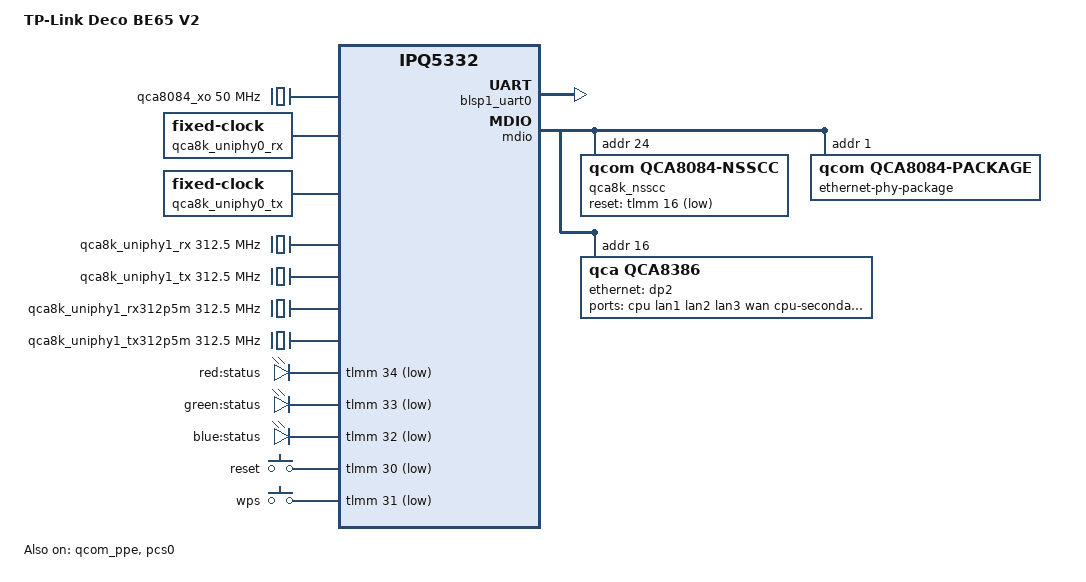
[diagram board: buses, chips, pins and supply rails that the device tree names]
// SPDX-License-Identifier: (GPL-2.0+ OR BSD-3-Clause)

/dts-v1/;

#include <arm64/qcom/ipq5332.dtsi>

#include <dt-bindings/clock/qcom,ipq5332-nsscc.h>
#include <dt-bindings/clock/qcom,qca8k-nsscc.h>
#include <dt-bindings/gpio/gpio.h>
#include <dt-bindings/input/input.h>
#include <dt-bindings/net/qcom,qca808x.h>
#include <dt-bindings/reset/qcom,qca8k-nsscc.h>

/ {
	model = "TP-Link Deco BE65 V2";
	compatible = "tplink,be65-v2", "qcom,ipq5332";

	aliases {
		serial0 = &blsp1_uart0;
	};

	chosen {
		stdout-path = "serial0:115200n8";
	};

	reserved-memory {
		#address-cells = <2>;
		#size-cells = <2>;
		ranges;

		tzapp: tzapp@49b00000 {
			reg = <0x0 0x49b00000 0x0 0x00600000>;
			no-map;
		};

		/* UserPD host DDR starts 12 MiB into q6_region. */
		q6_host_ddr: host-ddr@4b500000 {
			reg = <0x0 0x4b500000 0x0 0x01700000>;
			no-map;
		};

		m3_dump: m3-dump@4cc00000 {
			reg = <0x0 0x4cc00000 0x0 0x00100000>;
			no-map;
		};

		q6_etr: q6-etr-dump@4cd00000 {
			reg = <0x0 0x4cd00000 0x0 0x00100000>;
			no-map;
		};

		q6_caldb: q6-caldb@4ce00000 {
			reg = <0x0 0x4ce00000 0x0 0x00500000>;
			no-map;
		};

		mlo_mem: mlo-global-mem@4db00000 {
			reg = <0x0 0x4db00000 0x0 0x01200000>;
			no-map;
		};

		/* Active QCN9224 slot in the vendor BE65 V2 device tree. */
		qcn9224_host_ddr: qcn9224-host-ddr@51f00000 {
			reg = <0x0 0x51f00000 0x0 0x03200000>;
			no-map;
		};
	};

	qca8084_xo: clock-qca8084-xo {
		compatible = "fixed-clock";
		#clock-cells = <0>;
		clock-frequency = <50000000>;
	};

	qca8k_uniphy0_rx: clock-qca8k-uniphy0-rx {
		compatible = "fixed-clock";
		#clock-cells = <0>;
		clock-frequency = <0>;
	};

	qca8k_uniphy0_tx: clock-qca8k-uniphy0-tx {
		compatible = "fixed-clock";
		#clock-cells = <0>;
		clock-frequency = <0>;
	};

	qca8k_uniphy1_rx: clock-qca8k-uniphy1-rx {
		compatible = "fixed-clock";
		#clock-cells = <0>;
		clock-frequency = <312500000>;
	};

	qca8k_uniphy1_tx: clock-qca8k-uniphy1-tx {
		compatible = "fixed-clock";
		#clock-cells = <0>;
		clock-frequency = <312500000>;
	};

	qca8k_uniphy1_rx312p5m: clock-qca8k-uniphy1-rx312p5m {
		compatible = "fixed-clock";
		#clock-cells = <0>;
		clock-frequency = <312500000>;
	};

	qca8k_uniphy1_tx312p5m: clock-qca8k-uniphy1-tx312p5m {
		compatible = "fixed-clock";
		#clock-cells = <0>;
		clock-frequency = <312500000>;
	};

	leds {
		compatible = "gpio-leds";
		pinctrl-0 = <&leds_pins>;
		pinctrl-names = "default";

		led-red {
			label = "red:status";
			gpios = <&tlmm 34 GPIO_ACTIVE_LOW>;
			default-state = "off";
		};

		led-green {
			label = "green:status";
			gpios = <&tlmm 33 GPIO_ACTIVE_LOW>;
			default-state = "off";
		};

		led-blue {
			label = "blue:status";
			gpios = <&tlmm 32 GPIO_ACTIVE_LOW>;
			default-state = "off";
		};
	};

	keys {
		compatible = "gpio-keys";
		pinctrl-0 = <&buttons_pins>;
		pinctrl-names = "default";

		button-reset {
			label = "reset";
			linux,code = <KEY_RESTART>;
			gpios = <&tlmm 30 GPIO_ACTIVE_LOW>;
		};

		button-wps {
			label = "wps";
			linux,code = <KEY_WPS_BUTTON>;
			gpios = <&tlmm 31 GPIO_ACTIVE_LOW>;
		};
	};
};

&blsp1_uart0 {
	pinctrl-0 = <&serial_0_pins>;
	pinctrl-names = "default";
	status = "okay";
};

&tlmm {
	buttons_pins: buttons-state {
		pins = "gpio30", "gpio31";
		function = "gpio";
		drive-strength = <8>;
		bias-pull-up;
	};

	leds_pins: leds-state {
		pins = "gpio32", "gpio33", "gpio34";
		function = "gpio";
		drive-strength = <8>;
		bias-disable;
	};

	pcie1_default: pcie1-default-state {
		clkreq-n-pins {
			pins = "gpio46";
			function = "pcie1_clk";
			drive-strength = <8>;
			bias-pull-up;
		};

		perst-n-pins {
			pins = "gpio47";
			function = "gpio";
			drive-strength = <8>;
			bias-pull-up;
			output-low;
		};

		wake-n-pins {
			pins = "gpio48";
			function = "pcie1_wake";
			drive-strength = <8>;
			bias-pull-up;
		};
	};

	qspi_nand_pins: qspi-nand-state {
		qspi-clock-pins {
			pins = "gpio13";
			function = "qspi_clk";
			drive-strength = <8>;
			bias-disable;
		};

		qspi-cs-pins {
			pins = "gpio12";
			function = "qspi_cs";
			drive-strength = <8>;
			bias-disable;
		};

		qspi-data-pins {
			pins = "gpio8", "gpio9", "gpio10", "gpio11";
			function = "qspi_data";
			drive-strength = <8>;
			bias-disable;
		};
	};
};

&mdio {
	pinctrl-0 = <&mdio1_pins &mdio0_pins>;
	pinctrl-names = "default";
	mdio_clk_fixup;
	status = "okay";

	qca8k_nsscc: clock-controller@18 {
		compatible = "qcom,qca8084-nsscc";
		reg = <0x18>;
		reset-gpios = <&tlmm 16 GPIO_ACTIVE_LOW>;
		#clock-cells = <1>;
		#reset-cells = <1>;
		#power-domain-cells = <1>;

		clocks = <&qca8084_xo>,
			 <&qca8k_uniphy0_rx>,
			 <&qca8k_uniphy0_tx>,
			 <&qca8k_uniphy1_rx>,
			 <&qca8k_uniphy1_tx>,
			 <&qca8k_uniphy1_rx312p5m>,
			 <&qca8k_uniphy1_tx312p5m>;
	};

	ethernet-phy-package@1 {
		compatible = "qcom,qca8084-package";
		reg = <1>;
		#address-cells = <1>;
		#size-cells = <0>;

		clocks = <&qca8k_nsscc NSS_CC_APB_BRIDGE_CLK>,
			 <&qca8k_nsscc NSS_CC_AHB_CLK>,
			 <&qca8k_nsscc NSS_CC_SEC_CTRL_AHB_CLK>,
			 <&qca8k_nsscc NSS_CC_TLMM_CLK>,
			 <&qca8k_nsscc NSS_CC_TLMM_AHB_CLK>,
			 <&qca8k_nsscc NSS_CC_CNOC_AHB_CLK>,
			 <&qca8k_nsscc NSS_CC_MDIO_AHB_CLK>,
			 <&qca8k_nsscc NSS_CC_MDIO_MASTER_AHB_CLK>,
			 <&qca8k_nsscc NSS_CC_SWITCH_CORE_CLK>;
		clock-names = "apb_bridge",
			      "ahb",
			      "sec_ctrl_ahb",
			      "tlmm",
			      "tlmm_ahb",
			      "cnoc_ahb",
			      "mdio_ahb",
			      "mdio_master_ahb",
			      "switch_core";
		resets = <&qca8k_nsscc NSS_CC_GEPHY_FULL_ARES>;

		qcom,package-mode = <QCA808X_PCS1_SGMII_MAC_PCS0_SGMII_MAC>;
		qcom,phy-addr-fixup = <1 2 3 4 5 6 7>;

		qca8084_phy1: ethernet-phy@1 {
			compatible = "ethernet-phy-id004d.d180";
			reg = <1>;
			clocks = <&qca8k_nsscc NSS_CC_GEPHY0_SYS_CLK>;
			resets = <&qca8k_nsscc NSS_CC_GEPHY0_SYS_ARES>;
		};

		qca8084_phy2: ethernet-phy@2 {
			compatible = "ethernet-phy-id004d.d180";
			reg = <2>;
			clocks = <&qca8k_nsscc NSS_CC_GEPHY1_SYS_CLK>;
			resets = <&qca8k_nsscc NSS_CC_GEPHY1_SYS_ARES>;
		};

		qca8084_phy3: ethernet-phy@3 {
			compatible = "ethernet-phy-id004d.d180";
			reg = <3>;
			clocks = <&qca8k_nsscc NSS_CC_GEPHY2_SYS_CLK>;
			resets = <&qca8k_nsscc NSS_CC_GEPHY2_SYS_ARES>;
		};

		qca8084_phy4: ethernet-phy@4 {
			compatible = "ethernet-phy-id004d.d180";
			reg = <4>;
			clocks = <&qca8k_nsscc NSS_CC_GEPHY3_SYS_CLK>;
			resets = <&qca8k_nsscc NSS_CC_GEPHY3_SYS_ARES>;
		};

		/* QCA8084 PCS1 carries the QCA8386 port-0 CPU uplink. */
		pcs-phy@6 {
			compatible = "qcom,qca8k-pcs-phy";
			reg = <6>;
			clocks = <&qca8k_nsscc NSS_CC_SRDS1_SYS_CLK>,
				 <&qca8k_uniphy1_tx312p5m>,
				 <&qca8k_uniphy1_rx312p5m>;
			clock-names = "pcs", "pcs_rx_root", "pcs_tx_root";
			resets = <&qca8k_nsscc NSS_CC_SRDS1_SYS_ARES>;
		};
	};

	qca8386: switch@10 {
		compatible = "qca,qca8386";
		reg = <0x10>;

		resets = <&qca8k_nsscc NSS_CC_SWITCH_CORE_ARES>,
			 <&qca8k_nsscc NSS_CC_MAC0_TX_ARES>,
			 <&qca8k_nsscc NSS_CC_MAC0_RX_ARES>,
			 <&qca8k_nsscc NSS_CC_MAC1_TX_ARES>,
			 <&qca8k_nsscc NSS_CC_MAC1_RX_ARES>,
			 <&qca8k_nsscc NSS_CC_MAC2_TX_ARES>,
			 <&qca8k_nsscc NSS_CC_MAC2_RX_ARES>,
			 <&qca8k_nsscc NSS_CC_MAC3_TX_ARES>,
			 <&qca8k_nsscc NSS_CC_MAC3_RX_ARES>,
			 <&qca8k_nsscc NSS_CC_MAC4_TX_ARES>,
			 <&qca8k_nsscc NSS_CC_MAC4_RX_ARES>,
			 <&qca8k_nsscc NSS_CC_MAC5_TX_ARES>,
			 <&qca8k_nsscc NSS_CC_MAC5_RX_ARES>;
		reset-names = "switch_core",
			      "mac0_tx",
			      "mac0_rx",
			      "mac1_tx",
			      "mac1_rx",
			      "mac2_tx",
			      "mac2_rx",
			      "mac3_tx",
			      "mac3_rx",
			      "mac4_tx",
			      "mac4_rx",
			      "mac5_tx",
			      "mac5_rx";

		clocks = <&qca8k_nsscc NSS_CC_MAC0_TX_CLK>,
			 <&qca8k_nsscc NSS_CC_MAC0_RX_CLK>,
			 <&qca8k_nsscc NSS_CC_MAC0_TX_SRDS1_CLK>,
			 <&qca8k_nsscc NSS_CC_MAC0_RX_SRDS1_CLK>,
			 <&qca8k_nsscc NSS_CC_MAC1_TX_CLK>,
			 <&qca8k_nsscc NSS_CC_MAC1_RX_CLK>,
			 <&qca8k_nsscc NSS_CC_MAC1_GEPHY0_TX_CLK>,
			 <&qca8k_nsscc NSS_CC_MAC1_GEPHY0_RX_CLK>,
			 <&qca8k_nsscc NSS_CC_MAC2_TX_CLK>,
			 <&qca8k_nsscc NSS_CC_MAC2_RX_CLK>,
			 <&qca8k_nsscc NSS_CC_MAC2_GEPHY1_TX_CLK>,
			 <&qca8k_nsscc NSS_CC_MAC2_GEPHY1_RX_CLK>,
			 <&qca8k_nsscc NSS_CC_MAC3_TX_CLK>,
			 <&qca8k_nsscc NSS_CC_MAC3_RX_CLK>,
			 <&qca8k_nsscc NSS_CC_MAC3_GEPHY2_TX_CLK>,
			 <&qca8k_nsscc NSS_CC_MAC3_GEPHY2_RX_CLK>,
			 <&qca8k_nsscc NSS_CC_MAC4_TX_CLK>,
			 <&qca8k_nsscc NSS_CC_MAC4_RX_CLK>,
			 <&qca8k_nsscc NSS_CC_MAC4_GEPHY3_TX_CLK>,
			 <&qca8k_nsscc NSS_CC_MAC4_GEPHY3_RX_CLK>;
		clock-names = "mac0_tx",
			      "mac0_rx",
			      "mac0_tx_srds1",
			      "mac0_rx_srds1",
			      "mac1_tx",
			      "mac1_rx",
			      "mac1_gephy_tx",
			      "mac1_gephy_rx",
			      "mac2_tx",
			      "mac2_rx",
			      "mac2_gephy_tx",
			      "mac2_gephy_rx",
			      "mac3_tx",
			      "mac3_rx",
			      "mac3_gephy_tx",
			      "mac3_gephy_rx",
			      "mac4_tx",
			      "mac4_rx",
			      "mac4_gephy_tx",
			      "mac4_gephy_rx";

		ports {
			#address-cells = <1>;
			#size-cells = <0>;

			port@0 {
				reg = <0>;
				label = "cpu";
				ethernet = <&dp2>;
				phy-mode = "2500base-x";

				fixed-link {
					speed = <2500>;
					full-duplex;
				};
			};

			port@1 {
				reg = <1>;
				label = "lan1";
				phy-mode = "internal";
				phy-handle = <&qca8084_phy1>;
			};

			port@2 {
				reg = <2>;
				label = "lan2";
				phy-mode = "internal";
				phy-handle = <&qca8084_phy2>;
			};

			port@3 {
				reg = <3>;
				label = "lan3";
				phy-mode = "internal";
				phy-handle = <&qca8084_phy3>;
			};

			port@4 {
				reg = <4>;
				label = "wan";
				phy-mode = "internal";
				phy-handle = <&qca8084_phy4>;
				status = "disabled";
			};

			port@5 {
				reg = <5>;
				label = "cpu-secondary";
				status = "disabled";
			};
		};
	};
};

&qcom_ppe {
	status = "okay";

	ethernet-ports {
		#address-cells = <1>;
		#size-cells = <0>;

		/* Vendor dp2: qcom,id 1, connected to QCA8386 CPU port 0. */
		dp2: port@1 {
			reg = <1>;
			label = "lan";
			phy-mode = "2500base-x";
			pcs-handle = <&pcs0_ch0>;
			clocks = <&nsscc NSS_CC_PORT1_MAC_CLK>,
				 <&nsscc NSS_CC_PORT1_RX_CLK>,
				 <&nsscc NSS_CC_PORT1_TX_CLK>;
			clock-names = "mac", "rx", "tx";
			resets = <&nsscc NSS_CC_PORT1_MAC_CLK_ARES>,
				 <&nsscc NSS_CC_PORT1_RX_CLK_ARES>,
				 <&nsscc NSS_CC_PORT1_TX_CLK_ARES>;
			reset-names = "mac", "rx", "tx";

			fixed-link {
				speed = <2500>;
				full-duplex;
				pause;
			};
		};
	};
};

&pcs0 {
	status = "okay";
};

/*
 * Keep the complete QCN9224 PCIe path off in the first diagnostic image.
 * Disabling only the static endpoint node does not stop PCI enumeration.
 */
&pcie1_phy {
	status = "disabled";
};

&pcie1 {
	pinctrl-0 = <&pcie1_default>;
	pinctrl-names = "default";
	perst-gpios = <&tlmm 47 GPIO_ACTIVE_LOW>;
	wake-gpios = <&tlmm 48 GPIO_ACTIVE_LOW>;
	status = "disabled";

	pcie@0 {
		/* The root port owns downstream bus numbers 1..255. */
		bus-range = <0x01 0xff>;

		wifi1: pcie@0 {
			compatible = "pci17cb,1109";
			reg = <0x00010000 0 0 0 0>;
			memory-region = <&qcn9224_host_ddr>, <&mlo_mem>;
			memory-region-names = "host-ddr-mem", "mlo-global-mem";
			qcom,ath12k-fw-memory-mode = <1>;
			qcom,board-id = <0x1019>;
			qcom,firmware-directory = "QCN92XX/hw1.0";
			status = "disabled";
		};
	};
};

/*
 * Keep all persistent storage unreachable in the diagnostic image.  A future
 * storage-qualified profile may enable QPIC after a separate review.
 */
&qpic_nand {
	pinctrl-0 = <&qspi_nand_pins>;
	pinctrl-names = "default";
	status = "disabled";

	flash@0 {
		compatible = "spi-nand";
		reg = <0>;
		nand-ecc-engine = <&qpic_nand>;
		nand-ecc-strength = <8>;
		nand-ecc-step-size = <512>;

		partitions {
			compatible = "qcom,smem-part";

			partition-art {
				label = "0:art";
				read-only;
			};
		};
	};
};

&qpic_bam {
	status = "disabled";
};

&ref_48mhz_clk {
	clock-div = <1>;
	clock-mult = <1>;
};

&sleep_clk {
	clock-frequency = <32000>;
};

&xo_board {
	clock-div = <2>;
	clock-mult = <1>;
};

&xo_clk {
	clock-frequency = <48000000>;
};

/*
 * The vendor DT uses board ID 0x16 for the integrated IPQ5332 radio.
 * Keep it disabled until the stock bdwlan.b12 naming difference and local
 * board-data staging are resolved.
 */
&wifi0 {
	firmware-name = "ath12k/IPQ5332/hw1.0/q6_fw1.mdt",
			"ath12k/IPQ5332/hw1.0/iu_fw.mdt";
	memory-region = <&q6_region>, <&q6_host_ddr>, <&m3_dump>, <&q6_caldb>,
			<&mlo_mem>, <&q6_etr>;
	memory-region-names = "q6-region", "host-ddr-mem", "m3-dump", "q6-caldb",
			      "mlo-global-mem", "q6-etr-dump";
	qcom,bdf-address-offset = <0x0c00000>;
	qcom,board-id = <0x16>;
	qcom,rproc = <&q6v5_wcss>;
	status = "disabled";
};

&q6v5_wcss {
	firmware-name = "ath12k/IPQ5332/hw1.0/q6_fw0.mdt";
	status = "disabled";
};

&q6_region {
	reg = <0x0 0x4a900000 0x0 0x02300000>;
};
